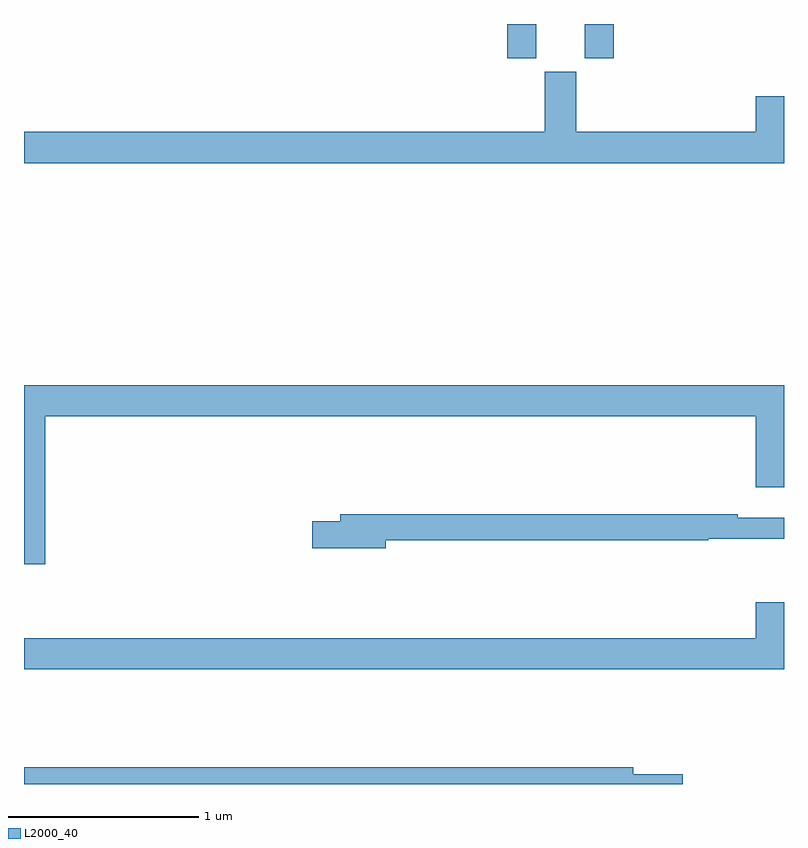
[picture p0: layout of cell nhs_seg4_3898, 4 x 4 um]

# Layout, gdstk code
import gdstk
lib = gdstk.Library(unit=1e-6, precision=1e-09)
def R(c, l, rs):  # rectangles x0, y0, x1, y1
    for r in rs: c.add(gdstk.rectangle(r[:2], r[2:], *l))
def P(c, l, *ps):  # polygons
    for p in ps: c.add(gdstk.Polygon(p, *l))
L2000_40 = (2000, 40)

nhs_seg4_3898 = lib.new_cell('nhs_seg4_3898')
R(nhs_seg4_3898, L2000_40, [(319.544,782.721,319.696,782.9), (319.952,782.721,320.105,782.9)])
P(nhs_seg4_3898, L2000_40, [(321,782.521),(320.852,782.521),(320.852,782.332),(319.906,782.332),(319.906,782.649),(319.742,782.649),(319.742,782.332),(317,782.332),(317,782.168),(321,782.168)],
  [(317.111,780.836),(320.852,780.836),(320.852,780.462),(321,780.462),(321,781),(317,781),(317,780.057),(317.111,780.057)],
  [(318.904,780.184),(320.6,780.184),(320.6,780.192),(321,780.192),(321,780.301),(320.756,780.301),(320.756,780.32),(318.665,780.32),(318.665,780.284),(318.516,780.284),(318.516,780.142),(318.904,780.142)],
  [(321,779.857),(320.852,779.857),(320.852,779.668),(317,779.668),(317,779.504),(321,779.504)],
  [(320.467,778.952),(320.206,778.952),(320.206,778.988),(317,778.988),(317,778.9),(320.467,778.9)])

lib.write_gds('nhs_seg4_3898.gds')
